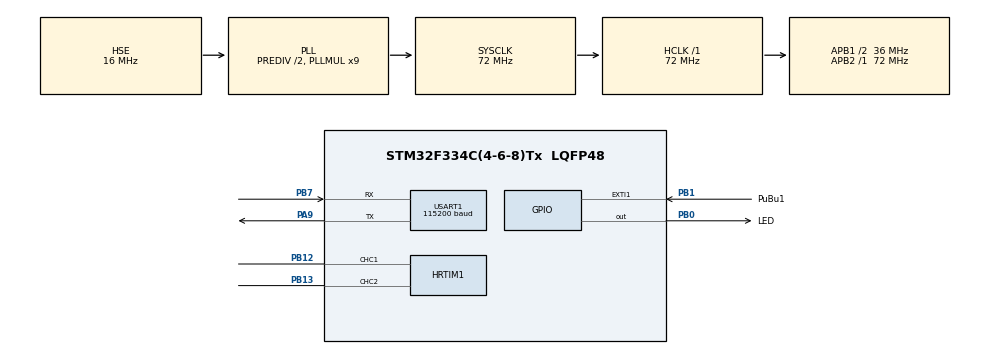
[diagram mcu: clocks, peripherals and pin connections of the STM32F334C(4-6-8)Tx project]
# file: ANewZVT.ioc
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HRTIM1.CompareUnit1-Output_TC1TC2=HRTIM_COMPAREUNIT_1
HRTIM1.CompareUnit2-Output_TC1TC2=HRTIM_COMPAREUNIT_2
HRTIM1.CompareValue1-Output_TC1TC2=120
HRTIM1.CompareValue2-Output_TC1TC2=60
HRTIM1.DeadTimeInsertion-Output_TC1TC2=HRTIM_TIMDEADTIMEINSERTION_DISABLED
HRTIM1.NumberResetSource1-Output_TC1TC2=1
HRTIM1.NumberResetSource2_TC=1
HRTIM1.NumberResetTrigger-Output_TC1TC2=0
HRTIM1.NumberSetSource1-Output_TC1TC2=1
HRTIM1.NumberSetSource2_TC=1
HRTIM1.NumberUpdateTrigger-Output_TC1TC2=0
HRTIM1.Periode_TC=720
HRTIM1.ResetOutput1_Source1-Output_TC1TC2=HRTIM_OUTPUTRESET_TIMCMP1
HRTIM1.ResetOutput2_Source1-Output_TC1TC2=HRTIM_OUTPUTRESET_TIMCMP2
HRTIM1.ResetUpdate-Output_TC1TC2=HRTIM_TIMUPDATEONRESET_DISABLED
HRTIM1.SetOutput1_Source1-Output_TC1TC2=HRTIM_OUTPUTSET_TIMPER
HRTIM1.SetOutput2_Source1-Output_TC1TC2=HRTIM_OUTPUTSET_TIMPER
Mcu.Family=STM32F3
Mcu.Name=STM32F334C(4-6-8)Tx
Mcu.Package=LQFP48
NVIC.EXTI1_IRQn=true\:0\:0\:false\:false\:true\:true\:true\:true
NVIC.PriorityGroup=NVIC_PRIORITYGROUP_4
NVIC.TIM1_BRK_TIM15_IRQn=true\:0\:0\:false\:false\:true\:true\:true\:true
PA9.Mode=Asynchronous
PA9.Signal=USART1_TX
PB0.GPIO_Label=LED
PB0.GPIO_ModeDefaultOutputPP=GPIO_MODE_OUTPUT_OD
PB0.GPIO_PuPd=GPIO_NOPULL
PB0.Signal=GPIO_Output
PB1.GPIO_Label=PuBu1
PB1.GPIO_ModeDefaultEXTI=GPIO_MODE_IT_FALLING
PB1.GPIO_PuPd=GPIO_PULLUP
PB1.Signal=GPXTI1
PB12.Mode=Output_TC1TC2
PB12.Signal=HRTIM1_CHC1
PB13.Mode=Output_TC1TC2
PB13.Signal=HRTIM1_CHC2
PB7.Mode=Asynchronous
PB7.Signal=USART1_RX
PF0\ /\ OSC_IN.Mode=HSE-External-Oscillator
PF0\ /\ OSC_IN.Signal=RCC_OSC_IN
PF1\ /\ OSC_OUT.Mode=HSE-External-Oscillator
PF1\ /\ OSC_OUT.Signal=RCC_OSC_OUT
ProjectManager.HeapSize=0x200
ProjectManager.StackSize=0x400
ProjectManager.TargetToolchain=STM32CubeIDE
RCC.AHBFreq_Value=72000000
RCC.APB1CLKDivider=RCC_HCLK_DIV2
RCC.APB1Freq_Value=36000000
RCC.APB1TimFreq_Value=72000000
RCC.APB2Freq_Value=72000000
RCC.APB2TimFreq_Value=72000000
RCC.CortexFreq_Value=72000000
RCC.HCLKFreq_Value=72000000
RCC.HSE_VALUE=16000000
RCC.HSI_VALUE=8000000
RCC.LSE_VALUE=32768
RCC.PLLMUL=RCC_PLL_MUL9
RCC.PLLSourceVirtual=RCC_PLLSOURCE_HSE
RCC.RCC_PLLsource_Clock_Source_FROM_HSE=RCC_HSE_PREDIV_DIV2
RCC.SYSCLKFreq_VALUE=72000000
RCC.SYSCLKSourceVirtual=RCC_SYSCLKSOURCE_PLLCLK
TIM15.Channel-Output\ Compare1\ No\ Output=TIM_CHANNEL_1
TIM15.Period=999
TIM15.Prescaler=71
USART1.BaudRate=115200
USART1.VirtualMode-Asynchronous=VM_ASYNC
VP_TIM15_VS_ClockSourceINT.Mode=Internal
VP_TIM15_VS_no_output1.Mode=Output Compare1 No Output
board=custom

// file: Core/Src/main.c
/* USER CODE BEGIN Header */
/**
  ******************************************************************************
  * @file           : main.c
  * @brief          : Main program body
  ******************************************************************************
  * @attention
  *
  * Copyright (c) 2022 STMicroelectronics.
  * All rights reserved.
  *
  * This software is licensed under terms that can be found in the LICENSE file
  * in the root directory of this software component.
  * If no LICENSE file comes with this software, it is provided AS-IS.
  *
  ******************************************************************************
  */
/* USER CODE END Header */
#include "main.h"

/* USER CODE BEGIN PTD */

struct sNewZVTVar NewZVTVar;
/* USER CODE END PTD */

HRTIM_HandleTypeDef hhrtim1;

TIM_HandleTypeDef htim15;

UART_HandleTypeDef huart1;

void SystemClock_Config(void);
static void MX_GPIO_Init(void);
static void MX_USART1_UART_Init(void);
static void MX_HRTIM1_Init(void);
static void MX_TIM15_Init(void);

int main(void)
{

  /* MCU Configuration--------------------------------------------------------*/

  /* Reset of all peripherals, Initializes the Flash interface and the Systick. */
  HAL_Init();

  /* Configure the system clock */
  SystemClock_Config();

  /* Initialize all configured peripherals */
  MX_GPIO_Init();
  MX_USART1_UART_Init();
  MX_HRTIM1_Init();
  MX_TIM15_Init();
  /* USER CODE BEGIN 2 */
  //HAL_Delay(5000);
  NewZVTVar.ConverterStat = OFF;
  //HAL_HRTIM_WaveformOutputStart(&hhrtim1, HRTIM_OUTPUT_TC1 | HRTIM_OUTPUT_TC2);
  //HAL_HRTIM_WaveformCounterStart(&hhrtim1, HRTIM_TIMERID_TIMER_C);
  HAL_TIM_Base_Start_IT(&htim15);
  HAL_GPIO_WritePin(LED_GPIO_Port, LED_Pin, GPIO_PIN_SET);	// Turn-Off LED1 PB1
  /* USER CODE END 2 */

  /* Infinite loop */
  while (1)
  {

    /* USER CODE BEGIN 3 */

	  switch (NewZVTVar.ConverterStat) {
		case UNDERVOLTAGE:

			break;

		case STARTUP:

			break;

		case IDLE:

			break;

		case OFF:

			break;

		case OPERATE:

			break;

		default:
			break;
	}

  }
  /* USER CODE END 3 */
}

void SystemClock_Config(void)
{
  RCC_OscInitTypeDef RCC_OscInitStruct = {0};
  RCC_ClkInitTypeDef RCC_ClkInitStruct = {0};
  RCC_PeriphCLKInitTypeDef PeriphClkInit = {0};

  /** Initializes the RCC Oscillators according to the specified parameters
  * in the RCC_OscInitTypeDef structure.
  */
  RCC_OscInitStruct.OscillatorType = RCC_OSCILLATORTYPE_HSE;
  RCC_OscInitStruct.HSEState = RCC_HSE_ON;
  RCC_OscInitStruct.HSEPredivValue = RCC_HSE_PREDIV_DIV2;
  RCC_OscInitStruct.HSIState = RCC_HSI_ON;
  RCC_OscInitStruct.PLL.PLLState = RCC_PLL_ON;
  RCC_OscInitStruct.PLL.PLLSource = RCC_PLLSOURCE_HSE;
  RCC_OscInitStruct.PLL.PLLMUL = RCC_PLL_MUL9;
  if (HAL_RCC_OscConfig(&RCC_OscInitStruct) != HAL_OK)
  {
    Error_Handler();
  }

  /** Initializes the CPU, AHB and APB buses clocks
  */
  RCC_ClkInitStruct.ClockType = RCC_CLOCKTYPE_HCLK|RCC_CLOCKTYPE_SYSCLK
                              |RCC_CLOCKTYPE_PCLK1|RCC_CLOCKTYPE_PCLK2;
  RCC_ClkInitStruct.SYSCLKSource = RCC_SYSCLKSOURCE_PLLCLK;
  RCC_ClkInitStruct.AHBCLKDivider = RCC_SYSCLK_DIV1;
  RCC_ClkInitStruct.APB1CLKDivider = RCC_HCLK_DIV2;
  RCC_ClkInitStruct.APB2CLKDivider = RCC_HCLK_DIV1;

  if (HAL_RCC_ClockConfig(&RCC_ClkInitStruct, FLASH_LATENCY_2) != HAL_OK)
  {
    Error_Handler();
  }
  PeriphClkInit.PeriphClockSelection = RCC_PERIPHCLK_HRTIM1|RCC_PERIPHCLK_USART1;
  PeriphClkInit.Usart1ClockSelection = RCC_USART1CLKSOURCE_PCLK1;
  PeriphClkInit.Hrtim1ClockSelection = RCC_HRTIM1CLK_HCLK;
  if (HAL_RCCEx_PeriphCLKConfig(&PeriphClkInit) != HAL_OK)
  {
    Error_Handler();
  }
}

static void MX_HRTIM1_Init(void)
{

  HRTIM_TimeBaseCfgTypeDef pTimeBaseCfg = {0};
  HRTIM_TimerCfgTypeDef pTimerCfg = {0};
  HRTIM_CompareCfgTypeDef pCompareCfg = {0};
  HRTIM_OutputCfgTypeDef pOutputCfg = {0};

  hhrtim1.Instance = HRTIM1;
  hhrtim1.Init.HRTIMInterruptResquests = HRTIM_IT_NONE;
  hhrtim1.Init.SyncOptions = HRTIM_SYNCOPTION_NONE;
  if (HAL_HRTIM_Init(&hhrtim1) != HAL_OK)
  {
    Error_Handler();
  }
  pTimeBaseCfg.Period = 720;
  pTimeBaseCfg.RepetitionCounter = 0x00;
  pTimeBaseCfg.PrescalerRatio = HRTIM_PRESCALERRATIO_DIV1;
  pTimeBaseCfg.Mode = HRTIM_MODE_CONTINUOUS;
  if (HAL_HRTIM_TimeBaseConfig(&hhrtim1, HRTIM_TIMERINDEX_TIMER_C, &pTimeBaseCfg) != HAL_OK)
  {
    Error_Handler();
  }
  pTimerCfg.InterruptRequests = HRTIM_TIM_IT_NONE;
  pTimerCfg.DMARequests = HRTIM_TIM_DMA_NONE;
  pTimerCfg.DMASrcAddress = 0x0000;
  pTimerCfg.DMADstAddress = 0x0000;
  pTimerCfg.DMASize = 0x1;
  pTimerCfg.HalfModeEnable = HRTIM_HALFMODE_DISABLED;
  pTimerCfg.StartOnSync = HRTIM_SYNCSTART_DISABLED;
  pTimerCfg.ResetOnSync = HRTIM_SYNCRESET_DISABLED;
  pTimerCfg.DACSynchro = HRTIM_DACSYNC_NONE;
  pTimerCfg.PreloadEnable = HRTIM_PRELOAD_DISABLED;
  pTimerCfg.UpdateGating = HRTIM_UPDATEGATING_INDEPENDENT;
  pTimerCfg.BurstMode = HRTIM_TIMERBURSTMODE_MAINTAINCLOCK;
  pTimerCfg.RepetitionUpdate = HRTIM_UPDATEONREPETITION_DISABLED;
  pTimerCfg.PushPull = HRTIM_TIMPUSHPULLMODE_DISABLED;
  pTimerCfg.FaultEnable = HRTIM_TIMFAULTENABLE_NONE;
  pTimerCfg.FaultLock = HRTIM_TIMFAULTLOCK_READWRITE;
  pTimerCfg.DeadTimeInsertion = HRTIM_TIMDEADTIMEINSERTION_DISABLED;
  pTimerCfg.DelayedProtectionMode = HRTIM_TIMER_A_B_C_DELAYEDPROTECTION_DISABLED;
  pTimerCfg.UpdateTrigger = HRTIM_TIMUPDATETRIGGER_NONE;
  pTimerCfg.ResetTrigger = HRTIM_TIMRESETTRIGGER_NONE;
  pTimerCfg.ResetUpdate = HRTIM_TIMUPDATEONRESET_DISABLED;
  if (HAL_HRTIM_WaveformTimerConfig(&hhrtim1, HRTIM_TIMERINDEX_TIMER_C, &pTimerCfg) != HAL_OK)
  {
    Error_Handler();
  }
  pCompareCfg.CompareValue = 120;
  if (HAL_HRTIM_WaveformCompareConfig(&hhrtim1, HRTIM_TIMERINDEX_TIMER_C, HRTIM_COMPAREUNIT_1, &pCompareCfg) != HAL_OK)
  {
    Error_Handler();
  }
  pCompareCfg.CompareValue = 60;
  pCompareCfg.AutoDelayedMode = HRTIM_AUTODELAYEDMODE_REGULAR;
  pCompareCfg.AutoDelayedTimeout = 0x0000;

  if (HAL_HRTIM_WaveformCompareConfig(&hhrtim1, HRTIM_TIMERINDEX_TIMER_C, HRTIM_COMPAREUNIT_2, &pCompareCfg) != HAL_OK)
  {
    Error_Handler();
  }
  pOutputCfg.Polarity = HRTIM_OUTPUTPOLARITY_HIGH;
  pOutputCfg.SetSource = HRTIM_OUTPUTSET_TIMPER;
  pOutputCfg.ResetSource = HRTIM_OUTPUTRESET_TIMCMP1;
  pOutputCfg.IdleMode = HRTIM_OUTPUTIDLEMODE_NONE;
  pOutputCfg.IdleLevel = HRTIM_OUTPUTIDLELEVEL_INACTIVE;
  pOutputCfg.FaultLevel = HRTIM_OUTPUTFAULTLEVEL_NONE;
  pOutputCfg.ChopperModeEnable = HRTIM_OUTPUTCHOPPERMODE_DISABLED;
  pOutputCfg.BurstModeEntryDelayed = HRTIM_OUTPUTBURSTMODEENTRY_REGULAR;
  if (HAL_HRTIM_WaveformOutputConfig(&hhrtim1, HRTIM_TIMERINDEX_TIMER_C, HRTIM_OUTPUT_TC1, &pOutputCfg) != HAL_OK)
  {
    Error_Handler();
  }
  pOutputCfg.ResetSource = HRTIM_OUTPUTRESET_TIMCMP2;
  if (HAL_HRTIM_WaveformOutputConfig(&hhrtim1, HRTIM_TIMERINDEX_TIMER_C, HRTIM_OUTPUT_TC2, &pOutputCfg) != HAL_OK)
  {
    Error_Handler();
  }
  HAL_HRTIM_MspPostInit(&hhrtim1);

}

static void MX_TIM15_Init(void)
{

  /* USER CODE BEGIN TIM15_Init 0 */
	// Timer 1ms

  /* USER CODE END TIM15_Init 0 */

  TIM_ClockConfigTypeDef sClockSourceConfig = {0};
  TIM_MasterConfigTypeDef sMasterConfig = {0};
  TIM_OC_InitTypeDef sConfigOC = {0};
  TIM_BreakDeadTimeConfigTypeDef sBreakDeadTimeConfig = {0};

  htim15.Instance = TIM15;
  htim15.Init.Prescaler = 71;
  htim15.Init.CounterMode = TIM_COUNTERMODE_UP;
  htim15.Init.Period = 999;
  htim15.Init.ClockDivision = TIM_CLOCKDIVISION_DIV1;
  htim15.Init.RepetitionCounter = 0;
  htim15.Init.AutoReloadPreload = TIM_AUTORELOAD_PRELOAD_DISABLE;
  if (HAL_TIM_Base_Init(&htim15) != HAL_OK)
  {
    Error_Handler();
  }
  sClockSourceConfig.ClockSource = TIM_CLOCKSOURCE_INTERNAL;
  if (HAL_TIM_ConfigClockSource(&htim15, &sClockSourceConfig) != HAL_OK)
  {
    Error_Handler();
  }
  if (HAL_TIM_OC_Init(&htim15) != HAL_OK)
  {
    Error_Handler();
  }
  sMasterConfig.MasterOutputTrigger = TIM_TRGO_RESET;
  sMasterConfig.MasterSlaveMode = TIM_MASTERSLAVEMODE_DISABLE;
  if (HAL_TIMEx_MasterConfigSynchronization(&htim15, &sMasterConfig) != HAL_OK)
  {
    Error_Handler();
  }
  sConfigOC.OCMode = TIM_OCMODE_TIMING;
  sConfigOC.Pulse = 0;
  sConfigOC.OCPolarity = TIM_OCPOLARITY_HIGH;
  sConfigOC.OCNPolarity = TIM_OCNPOLARITY_HIGH;
  sConfigOC.OCFastMode = TIM_OCFAST_DISABLE;
  sConfigOC.OCIdleState = TIM_OCIDLESTATE_RESET;
  sConfigOC.OCNIdleState = TIM_OCNIDLESTATE_RESET;
  if (HAL_TIM_OC_ConfigChannel(&htim15, &sConfigOC, TIM_CHANNEL_1) != HAL_OK)
  {
    Error_Handler();
  }
  sBreakDeadTimeConfig.OffStateRunMode = TIM_OSSR_DISABLE;
  sBreakDeadTimeConfig.OffStateIDLEMode = TIM_OSSI_DISABLE;
  sBreakDeadTimeConfig.LockLevel = TIM_LOCKLEVEL_OFF;
  sBreakDeadTimeConfig.DeadTime = 0;
  sBreakDeadTimeConfig.BreakState = TIM_BREAK_DISABLE;
  sBreakDeadTimeConfig.BreakPolarity = TIM_BREAKPOLARITY_HIGH;
  sBreakDeadTimeConfig.BreakFilter = 0;
  sBreakDeadTimeConfig.AutomaticOutput = TIM_AUTOMATICOUTPUT_DISABLE;
  if (HAL_TIMEx_ConfigBreakDeadTime(&htim15, &sBreakDeadTimeConfig) != HAL_OK)
  {
    Error_Handler();
  }

}

static void MX_USART1_UART_Init(void)
{

  huart1.Instance = USART1;
  huart1.Init.BaudRate = 115200;
  huart1.Init.WordLength = UART_WORDLENGTH_8B;
  huart1.Init.StopBits = UART_STOPBITS_1;
  huart1.Init.Parity = UART_PARITY_NONE;
  huart1.Init.Mode = UART_MODE_TX_RX;
  huart1.Init.HwFlowCtl = UART_HWCONTROL_NONE;
  huart1.Init.OverSampling = UART_OVERSAMPLING_16;
  huart1.Init.OneBitSampling = UART_ONE_BIT_SAMPLE_DISABLE;
  huart1.AdvancedInit.AdvFeatureInit = UART_ADVFEATURE_NO_INIT;
  if (HAL_UART_Init(&huart1) != HAL_OK)
  {
    Error_Handler();
  }

}

static void MX_GPIO_Init(void)
{
  GPIO_InitTypeDef GPIO_InitStruct = {0};

  /* GPIO Ports Clock Enable */
  __HAL_RCC_GPIOF_CLK_ENABLE();
  __HAL_RCC_GPIOB_CLK_ENABLE();
  __HAL_RCC_GPIOA_CLK_ENABLE();

  /*Configure GPIO pin Output Level */
  HAL_GPIO_WritePin(LED_GPIO_Port, LED_Pin, GPIO_PIN_RESET);

  /*Configure GPIO pin : LED_Pin */
  GPIO_InitStruct.Pin = LED_Pin;
  GPIO_InitStruct.Mode = GPIO_MODE_OUTPUT_OD;
  GPIO_InitStruct.Pull = GPIO_NOPULL;
  GPIO_InitStruct.Speed = GPIO_SPEED_FREQ_LOW;
  HAL_GPIO_Init(LED_GPIO_Port, &GPIO_InitStruct);

  /*Configure GPIO pin : PuBu1_Pin */
  GPIO_InitStruct.Pin = PuBu1_Pin;
  GPIO_InitStruct.Mode = GPIO_MODE_IT_FALLING;
  GPIO_InitStruct.Pull = GPIO_PULLUP;
  HAL_GPIO_Init(PuBu1_GPIO_Port, &GPIO_InitStruct);

  /* EXTI interrupt init*/
  HAL_NVIC_SetPriority(EXTI1_IRQn, 0, 0);
  HAL_NVIC_EnableIRQ(EXTI1_IRQn);

}

/* USER CODE BEGIN 4 */

/**
 * PB1 Button Check
 */
void ButtonCheck(void)
{
	  if(NewZVTVar.PB1Pressed )
	  {

		  if(NewZVTVar.PB1Timer >= KEY_PRS_DLY)
		  {
			  //
			  NewZVTVar.PB1Timer = 0;
			  NewZVTVar.PB1Pressed = 0;

			  switch (NewZVTVar.ConverterStat) {				//Change
			  		case OFF:
			  			HAL_GPIO_WritePin(LED_GPIO_Port, LED_Pin, GPIO_PIN_SET);
			  			NewZVTVar.ConverterStat = IDLE;
			  			NewZVTVar.LEDTimer = IDLE_DLY;
			  			break;

			  		case IDLE:

			  			NewZVTVar.ConverterStat = STARTUP;
			  			NewZVTVar.LEDTimer = STRTUP_DLY;
			  			break;

			  		case STARTUP:
			  			NewZVTVar.ConverterStat = OPERATE;
			  			HAL_HRTIM_WaveformOutputStart(&hhrtim1, HRTIM_OUTPUT_TC2);
			  			HAL_HRTIM_WaveformCounterStart(&hhrtim1, HRTIM_TIMERID_TIMER_C);
			  			HAL_GPIO_WritePin(LED_GPIO_Port, LED_Pin, GPIO_PIN_RESET);
			  			NewZVTVar.LEDTimer = 0;
			  			break;

			  		case OPERATE:
						HAL_HRTIM_WaveformOutputStop(&hhrtim1, HRTIM_OUTPUT_TC1 | HRTIM_OUTPUT_TC2);
						HAL_HRTIM_WaveformCounterStop(&hhrtim1, HRTIM_TIMERID_TIMER_C);
			  			NewZVTVar.ConverterStat = IDLE;
			  			NewZVTVar.LEDTimer = IDLE_DLY;
			  			break;

			  		default:
			  			break;
			  }

		  }
	  }

}

/* @LED Blink State
 *
 */
void LEDBlink(void)
{

	if(NewZVTVar.StateLEDTimer >= NewZVTVar.LEDTimer)
	{
		HAL_GPIO_TogglePin(LED_GPIO_Port, LED_Pin);
		NewZVTVar.StateLEDTimer = 0;
	}

}

/* USER CODE END 4 */

void Error_Handler(void)
{
  __disable_irq();
  while (1)
  {
  }
}
